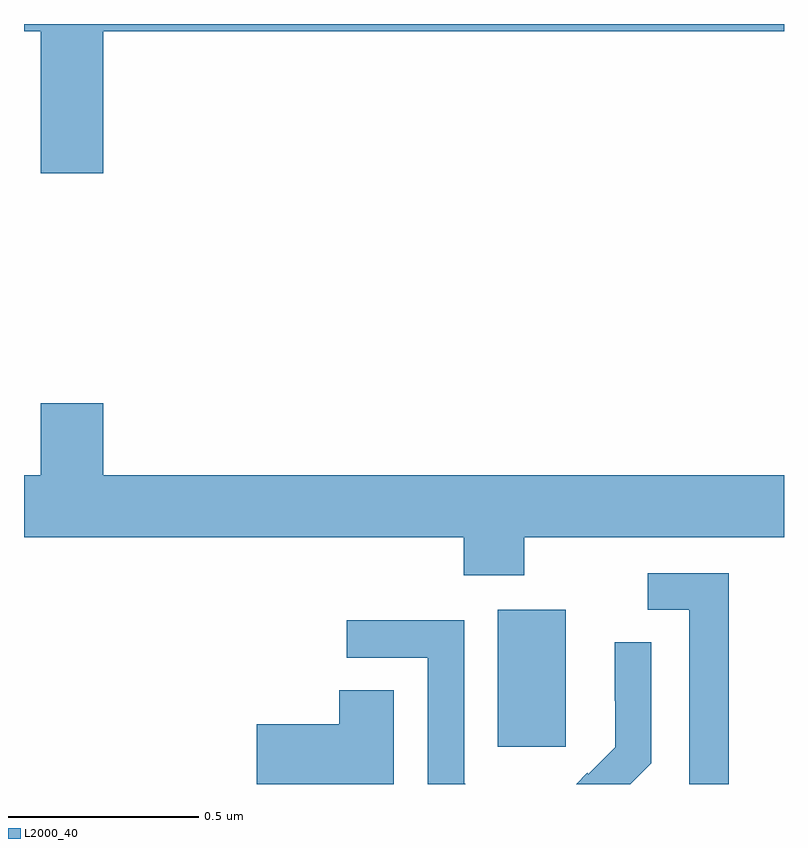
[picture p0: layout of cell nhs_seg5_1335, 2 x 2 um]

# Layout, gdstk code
import gdstk
lib = gdstk.Library(unit=1e-6, precision=1e-09)
def R(c, l, rs):  # rectangles x0, y0, x1, y1
    for r in rs: c.add(gdstk.rectangle(r[:2], r[2:], *l))
def P(c, l, *ps):  # polygons
    for p in ps: c.add(gdstk.Polygon(p, *l))
L2000_40 = (2000, 40)

nhs_seg5_1335 = lib.new_cell('nhs_seg5_1335')
R(nhs_seg5_1335, L2000_40, [(130.247,834.897,130.426,835.258)])
P(nhs_seg5_1335, L2000_40, [(129.208,836.78),(131,836.78),(131,836.799),(129,836.799),(129,836.78),(129.044,836.78),(129.044,836.406),(129.208,836.406)],
  [(130.317,835.448),(131,835.448),(131,835.612),(129.208,835.612),(129.208,835.801),(129.044,835.801),(129.044,835.612),(129,835.612),(129,835.448),(130.157,835.448),(130.157,835.349),(130.317,835.349)],
  [(130.855,835.353),(130.641,835.353),(130.641,835.257),(130.751,835.257),(130.751,834.799),(130.855,834.799)],
  [(130.161,834.8),(130.158,834.8),(130.158,835.23),(129.849,835.23),(129.849,835.131),(130.062,835.131),(130.062,834.799),(130.161,834.799)],
  [(130.65,834.854),(130.65,835.172),(130.554,835.172),(130.554,835.018),(130.556,835.018),(130.556,834.896),(130.485,834.825),(130.482,834.828),(130.453,834.799),(130.595,834.799)],
  [(129.973,835.046),(129.83,835.046),(129.83,834.956),(129.612,834.956),(129.612,834.799),(129.973,834.799)])

lib.write_gds('nhs_seg5_1335.gds')
